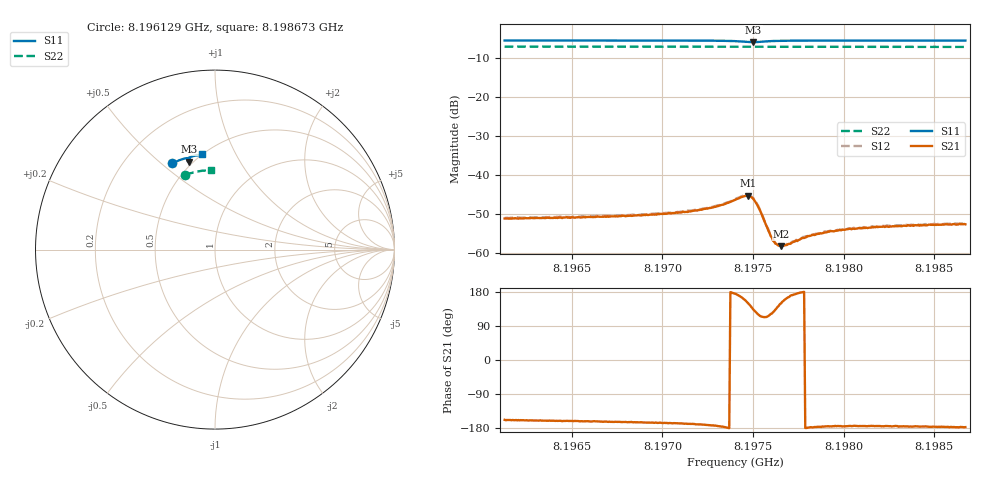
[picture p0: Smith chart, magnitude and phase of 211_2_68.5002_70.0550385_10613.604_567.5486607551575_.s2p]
#  HZ  S  RI  R  50.00
! Rohde & Schwarz Vector Network Analyzer
! Rohde-Schwarz,ZNB20-2Port,1311601062101988,3.16
! Created: UTC 3/20/2024, 5:13:09 PM
! freq[Hz]  re:S11  im:S11  re:S21  im:S21  re:S12  im:S12  re:S22  im:S22
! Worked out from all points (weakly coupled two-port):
!   401 points, 8.196129 GHz to 8.198673 GHz, reference 50 ohm
!   highest |S21| = -45.34 dB at 8.197471 GHz (marker M1); lowest = -58.3 dB at 8.197655 GHz (marker M2)
!   lowest |S11| = -5.9 dB at 8.197503 GHz (marker M3), VSWR 3.08, Z = 23.9 + j31.6 ohm
!   |S11| at or under -10 dB: nowhere
!   |S22| runs from -7.1 to -7.0 dB; largest |S21 - S12| = 0.00028
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8.196129e9  -0.2394 0.4805  -0.00256 -0.00104  -0.00265 -0.00094  -0.1655 0.4161
8.1965551e9  -0.2114 0.493  -0.0027 -0.000906  -0.00284 -0.000795  -0.1427 0.4237
8.1969812e9  -0.1816 0.5039  -0.00303 -0.000778  -0.00314 -0.000639  -0.1195 0.4301
8.1971402e9  -0.1694 0.5073  -0.00328 -0.000662  -0.00345 -0.000574  -0.1107 0.4322
8.1972483e9  -0.1601 0.5091  -0.00366 -0.000542  -0.00374 -0.000405  -0.1046 0.4334
8.1973246e9  -0.1522 0.5095  -0.00411 -0.000311  -0.00417 -0.000126  -0.1005 0.4342
8.1974009e9  -0.1427 0.5067  -0.00476 0.000425  -0.00485 0.000622  -0.0961 0.4349
8.1974454e9  -0.1379 0.5005  -0.00504 0.0016  -0.0051 0.00182  -0.0936 0.4351
8.1974709e9  -0.1379 0.4945  -0.00472 0.00264  -0.00471 0.00284  -0.0923 0.4353
8.19749e9  -0.1408 0.4906  -0.00404 0.00332  -0.00395 0.00354  -0.0915 0.4354
8.1975027e9  -0.1439 0.4891  -0.00335 0.00359  -0.00329 0.0038  -0.0908 0.4355
8.1975345e9  -0.1519 0.4912  -0.00173 0.00322  -0.00165 0.0034  -0.0893 0.4359
8.1975854e9  -0.1544 0.5016  -0.000852 0.00172  -0.000794 0.00183  -0.0866 0.4366
8.1976108e9  -0.1527 0.5055  -0.000847 0.00116  -0.000836 0.00125  -0.0851 0.437
8.1976299e9  -0.1511 0.5077  -0.000937 0.0009  -0.000892 0.000937  -0.084 0.4372
8.1976553e9  -0.1487 0.51  -0.00105 0.000623  -0.00108 0.000674  -0.0827 0.4374
8.1976744e9  -0.1468 0.5113  -0.00116 0.000452  -0.00114 0.000521  -0.0816 0.4378
8.197827e9  -0.1333 0.5176  -0.00169 -6.6e-05  -0.00171 1.27e-05  -0.0729 0.439
8.1979352e9  -0.1248 0.52  -0.00189 -0.000155  -0.00194 -0.000129  -0.0669 0.4398
8.1980242e9  -0.1179 0.5218  -0.002 -0.000191  -0.00205 -0.000126  -0.0618 0.4403
8.1982531e9  -0.1012 0.5251  -0.00215 -0.000197  -0.00223 -7.86e-05  -0.0488 0.4416
8.1986729e9  -0.0709 0.53  -0.00232 -0.000116  -0.0024 7.3e-06  -0.0251 0.4428
